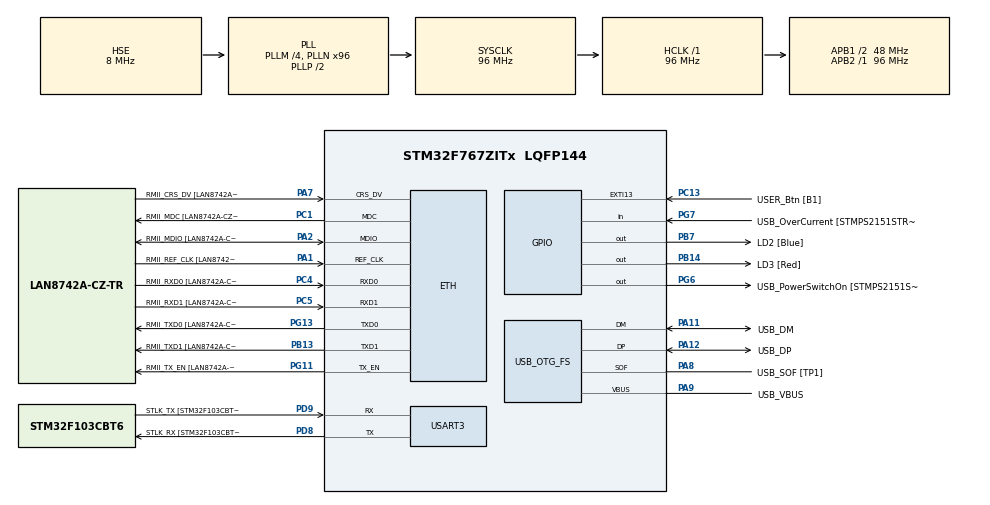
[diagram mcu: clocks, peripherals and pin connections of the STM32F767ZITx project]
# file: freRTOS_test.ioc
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ETH.MediaInterface=ETH_MEDIA_INTERFACE_RMII
ETH.PHY_Name=LAN8742A_PHY_ADDRESS
ETH.PHY_Value=0
ETH.PhyAddress=0
FREERTOS.Tasks01=defaultTask,0,128,StartDefaultTask,Default,NULL,Dynamic,NULL,NULL;myTask02,-3,128,StartTask02,Default,NULL,Dynamic,NULL,NULL;myTask03,-3,128,StartTask03,Default,NULL,Dynamic,NULL,NULL
FREERTOS.Timers01=myTimer01,Callback01,osTimerPeriodic,Default,NULL,Dynamic,NULL;myTimer02,Callback02,osTimerPeriodic,Default,NULL,Dynamic,NULL
FREERTOS.configUSE_RECURSIVE_MUTEXES=1
FREERTOS.configUSE_TIMERS=1
LWIP.Version=v2.0.3_Cube
Mcu.Family=STM32F7
Mcu.Name=STM32F767ZITx
Mcu.Package=LQFP144
NVIC.ETH_IRQn=true\:5\:0\:false\:false\:true\:true\:false
NVIC.PriorityGroup=NVIC_PRIORITYGROUP_4
NVIC.RCC_IRQn=true\:5\:0\:false\:false\:true\:true\:true
NVIC.TIM1_UP_TIM10_IRQn=true\:0\:0\:false\:false\:true\:false\:false
NVIC.TimeBase=TIM1_UP_TIM10_IRQn
NVIC.TimeBaseIP=TIM1
PA1.GPIO_Label=RMII_REF_CLK [LAN8742A-CZ-TR_REFCLK0]
PA1.Mode=RMII
PA1.Signal=ETH_REF_CLK
PA10.GPIO_Label=USB_ID
PA10.Signal=USB_OTG_FS_ID
PA11.GPIO_Label=USB_DM
PA11.Mode=Device_Only
PA11.Signal=USB_OTG_FS_DM
PA12.GPIO_Label=USB_DP
PA12.Mode=Device_Only
PA12.Signal=USB_OTG_FS_DP
PA13.GPIO_Label=TMS
PA13.Mode=Serial_Wire
PA13.Signal=SYS_JTMS-SWDIO
PA14.GPIO_Label=TCK
PA14.Mode=Serial_Wire
PA14.Signal=SYS_JTCK-SWCLK
PA2.GPIO_Label=RMII_MDIO [LAN8742A-CZ-TR_MDIO]
PA2.Mode=RMII
PA2.Signal=ETH_MDIO
PA7.GPIO_Label=RMII_CRS_DV [LAN8742A-CZ-TR_CRS_DV]
PA7.Mode=RMII
PA7.Signal=ETH_CRS_DV
PA8.GPIO_Label=USB_SOF [TP1]
PA8.Mode=Activate_SOF_FS
PA8.Signal=USB_OTG_FS_SOF
PA9.GPIO_Label=USB_VBUS
PA9.Mode=Activate_VBUS
PA9.Signal=USB_OTG_FS_VBUS
PB13.GPIO_Label=RMII_TXD1 [LAN8742A-CZ-TR_TXD1]
PB13.Mode=RMII
PB13.Signal=ETH_TXD1
PB14.GPIO_Label=LD3 [Red]
PB14.Signal=GPIO_Output
PB3.GPIO_Label=SWO
PB3.Signal=SYS_JTDO-SWO
PB7.GPIO_Label=LD2 [Blue]
PB7.Signal=GPIO_Output
PC1.GPIO_Label=RMII_MDC [LAN8742A-CZ-TR_MDC]
PC1.Mode=RMII
PC1.Signal=ETH_MDC
PC13.GPIO_Label=USER_Btn [B1]
PC13.Signal=GPXTI13
PC14/OSC32_IN.Mode=LSE-External-Oscillator
PC14/OSC32_IN.Signal=RCC_OSC32_IN
PC15/OSC32_OUT.Mode=LSE-External-Oscillator
PC15/OSC32_OUT.Signal=RCC_OSC32_OUT
PC4.GPIO_Label=RMII_RXD0 [LAN8742A-CZ-TR_RXD0]
PC4.Mode=RMII
PC4.Signal=ETH_RXD0
PC5.GPIO_Label=RMII_RXD1 [LAN8742A-CZ-TR_RXD1]
PC5.Mode=RMII
PC5.Signal=ETH_RXD1
PD8.GPIO_Label=STLK_RX [STM32F103CBT6_PA3]
PD8.Mode=Asynchronous
PD8.Signal=USART3_TX
PD9.GPIO_Label=STLK_TX [STM32F103CBT6_PA2]
PD9.Mode=Asynchronous
PD9.Signal=USART3_RX
PG11.GPIO_Label=RMII_TX_EN [LAN8742A-CZ-TR_TXEN]
PG11.Mode=RMII
PG11.Signal=ETH_TX_EN
PG13.GPIO_Label=RMII_TXD0 [LAN8742A-CZ-TR_TXD0]
PG13.Mode=RMII
PG13.Signal=ETH_TXD0
PG6.GPIO_Label=USB_PowerSwitchOn [STMPS2151STR_EN]
PG6.Signal=GPIO_Output
PG7.GPIO_Label=USB_OverCurrent [STMPS2151STR_FAULT]
PG7.Signal=GPIO_Input
PH0/OSC_IN.GPIO_Label=MCO [STM32F103CBT6_PA8]
PH0/OSC_IN.Mode=HSE-External-Clock-Source
PH0/OSC_IN.Signal=RCC_OSC_IN
PH1/OSC_OUT.Mode=HSE-External-Clock-Source
PH1/OSC_OUT.Signal=RCC_OSC_OUT
ProjectManager.HeapSize=0x200
ProjectManager.StackSize=0x400
ProjectManager.TargetToolchain=SW4STM32
RCC.48MHZClocksFreq_Value=24000000
RCC.AHBFreq_Value=96000000
RCC.APB1CLKDivider=RCC_HCLK_DIV2
RCC.APB1Freq_Value=48000000
RCC.APB1TimFreq_Value=96000000
RCC.APB2Freq_Value=96000000
RCC.APB2TimFreq_Value=96000000
RCC.CortexFreq_Value=96000000
RCC.HCLKFreq_Value=96000000
RCC.HSE_VALUE=8000000
RCC.HSI_VALUE=16000000
RCC.PLLM=4
RCC.PLLMUL=RCC_PLL_MUL9
RCC.PLLN=96
RCC.PLLQ=4
RCC.PRESCALERUSB=RCC_USBCLKSOURCE_PLL_DIV1_5
RCC.SYSCLKFreq_VALUE=96000000
RCC.SYSCLKSource=RCC_SYSCLKSOURCE_PLLCLK
RCC.SYSCLKSourceVirtual=RCC_SYSCLKSOURCE_PLLCLK
RCC.USBFreq_Value=48000000
RCC.VCOOutputFreq_Value=192000000
USART3.VirtualMode-Asynchronous=VM_ASYNC
USB_OTG_FS.VirtualMode=Device_Only
VP_FREERTOS_VS_ENABLE.Mode=Enabled
VP_LWIP_VS_Enabled.Mode=Enabled
VP_SYS_VS_tim1.Mode=TIM1
board=NUCLEO-F767ZI

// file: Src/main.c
/**
  ******************************************************************************
  * @file           : main.c
  * @brief          : Main program body
  ******************************************************************************
  * This notice applies to any and all portions of this file
  * that are not between comment pairs USER CODE BEGIN and
  * USER CODE END. Other portions of this file, whether
  * inserted by the user or by software development tools
  * are owned by their respective copyright owners.
  *
  * Copyright (c) 2018 STMicroelectronics International N.V.
  * All rights reserved.
  *
  * Redistribution and use in source and binary forms, with or without
  * modification, are permitted, provided that the following conditions are met:
  *
  * 1. Redistribution of source code must retain the above copyright notice,
  *    this list of conditions and the following disclaimer.
  * 2. Redistributions in binary form must reproduce the above copyright notice,
  *    this list of conditions and the following disclaimer in the documentation
  *    and/or other materials provided with the distribution.
  * 3. Neither the name of STMicroelectronics nor the names of other
  *    contributors to this software may be used to endorse or promote products
  *    derived from this software without specific written permission.
  * 4. This software, including modifications and/or derivative works of this
  *    software, must execute solely and exclusively on microcontroller or
  *    microprocessor devices manufactured by or for STMicroelectronics.
  * 5. Redistribution and use of this software other than as permitted under
  *    this license is void and will automatically terminate your rights under
  *    this license.
  *
  * THIS SOFTWARE IS PROVIDED BY STMICROELECTRONICS AND CONTRIBUTORS "AS IS"
  * AND ANY EXPRESS, IMPLIED OR STATUTORY WARRANTIES, INCLUDING, BUT NOT
  * LIMITED TO, THE IMPLIED WARRANTIES OF MERCHANTABILITY, FITNESS FOR A
  * PARTICULAR PURPOSE AND NON-INFRINGEMENT OF THIRD PARTY INTELLECTUAL PROPERTY
  * RIGHTS ARE DISCLAIMED TO THE FULLEST EXTENT PERMITTED BY LAW. IN NO EVENT
  * SHALL STMICROELECTRONICS OR CONTRIBUTORS BE LIABLE FOR ANY DIRECT, INDIRECT,
  * INCIDENTAL, SPECIAL, EXEMPLARY, OR CONSEQUENTIAL DAMAGES (INCLUDING, BUT NOT
  * LIMITED TO, PROCUREMENT OF SUBSTITUTE GOODS OR SERVICES; LOSS OF USE, DATA,
  * OR PROFITS; OR BUSINESS INTERRUPTION) HOWEVER CAUSED AND ON ANY THEORY OF
  * LIABILITY, WHETHER IN CONTRACT, STRICT LIABILITY, OR TORT (INCLUDING
  * NEGLIGENCE OR OTHERWISE) ARISING IN ANY WAY OUT OF THE USE OF THIS SOFTWARE,
  * EVEN IF ADVISED OF THE POSSIBILITY OF SUCH DAMAGE.
  *
  ******************************************************************************
  */
#include "main.h"
#include "stm32f7xx_hal.h"
#include "cmsis_os.h"
#include "lwip.h"
#include "usart.h"
#include "usb_otg.h"
#include "gpio.h"

/* USER CODE BEGIN Includes */
#include "stdio.h"
/* USER CODE END Includes */

/* USER CODE BEGIN PV */
/* Private variables ---------------------------------------------------------*/

/* USER CODE END PV */

void SystemClock_Config(void);
void MX_FREERTOS_Init(void);

/* USER CODE BEGIN PFP */
/* Private function prototypes -----------------------------------------------*/
#ifdef __GNUC__
  /* With GCC/RAISONANCE, small printf (option LD Linker->Libraries->Small printf
     set to 'Yes') calls __io_putchar() */
  #define PUTCHAR_PROTOTYPE int __io_putchar(int ch)
#else
  #define PUTCHAR_PROTOTYPE int fputc(int ch, FILE *f)
#endif /* __GNUC__ */

/* USER CODE END PFP */

int main(void)
{

  /* MCU Configuration----------------------------------------------------------*/

  /* Reset of all peripherals, Initializes the Flash interface and the Systick. */
  HAL_Init();

  /* Configure the system clock */
  SystemClock_Config();

  /* Initialize all configured peripherals */
  MX_GPIO_Init();
  MX_USART3_UART_Init();
  MX_USB_OTG_FS_PCD_Init();
  /* USER CODE BEGIN 2 */
  printf("Starting UDP/TCP echo server\n\r");
  /* USER CODE END 2 */

  /* Call init function for freertos objects (in freertos.c) */
  MX_FREERTOS_Init();

  /* Start scheduler */
  osKernelStart();

  /* We should never get here as control is now taken by the scheduler */

  /* Infinite loop */
  while (1)
  {

  }

}

void SystemClock_Config(void)
{

  RCC_OscInitTypeDef RCC_OscInitStruct;
  RCC_ClkInitTypeDef RCC_ClkInitStruct;
  RCC_PeriphCLKInitTypeDef PeriphClkInitStruct;

    /**Configure the main internal regulator output voltage
    */
  __HAL_RCC_PWR_CLK_ENABLE();

  __HAL_PWR_VOLTAGESCALING_CONFIG(PWR_REGULATOR_VOLTAGE_SCALE3);

    /**Initializes the CPU, AHB and APB busses clocks
    */
  RCC_OscInitStruct.OscillatorType = RCC_OSCILLATORTYPE_HSE;
  RCC_OscInitStruct.HSEState = RCC_HSE_BYPASS;
  RCC_OscInitStruct.PLL.PLLState = RCC_PLL_ON;
  RCC_OscInitStruct.PLL.PLLSource = RCC_PLLSOURCE_HSE;
  RCC_OscInitStruct.PLL.PLLM = 4;
  RCC_OscInitStruct.PLL.PLLN = 96;
  RCC_OscInitStruct.PLL.PLLP = RCC_PLLP_DIV2;
  RCC_OscInitStruct.PLL.PLLQ = 4;
  if (HAL_RCC_OscConfig(&RCC_OscInitStruct) != HAL_OK)
  {
    _Error_Handler(__FILE__, __LINE__);
  }

    /**Activate the Over-Drive mode
    */
  if (HAL_PWREx_EnableOverDrive() != HAL_OK)
  {
    _Error_Handler(__FILE__, __LINE__);
  }

    /**Initializes the CPU, AHB and APB busses clocks
    */
  RCC_ClkInitStruct.ClockType = RCC_CLOCKTYPE_HCLK|RCC_CLOCKTYPE_SYSCLK
                              |RCC_CLOCKTYPE_PCLK1|RCC_CLOCKTYPE_PCLK2;
  RCC_ClkInitStruct.SYSCLKSource = RCC_SYSCLKSOURCE_PLLCLK;
  RCC_ClkInitStruct.AHBCLKDivider = RCC_SYSCLK_DIV1;
  RCC_ClkInitStruct.APB1CLKDivider = RCC_HCLK_DIV2;
  RCC_ClkInitStruct.APB2CLKDivider = RCC_HCLK_DIV1;

  if (HAL_RCC_ClockConfig(&RCC_ClkInitStruct, FLASH_LATENCY_3) != HAL_OK)
  {
    _Error_Handler(__FILE__, __LINE__);
  }

  PeriphClkInitStruct.PeriphClockSelection = RCC_PERIPHCLK_USART3|RCC_PERIPHCLK_CLK48;
  PeriphClkInitStruct.Usart3ClockSelection = RCC_USART3CLKSOURCE_PCLK1;
  PeriphClkInitStruct.Clk48ClockSelection = RCC_CLK48SOURCE_PLL;
  if (HAL_RCCEx_PeriphCLKConfig(&PeriphClkInitStruct) != HAL_OK)
  {
    _Error_Handler(__FILE__, __LINE__);
  }

    /**Configure the Systick interrupt time
    */
  HAL_SYSTICK_Config(HAL_RCC_GetHCLKFreq()/1000);

    /**Configure the Systick
    */
  HAL_SYSTICK_CLKSourceConfig(SYSTICK_CLKSOURCE_HCLK);

  /* SysTick_IRQn interrupt configuration */
  HAL_NVIC_SetPriority(SysTick_IRQn, 15, 0);
}

/* USER CODE BEGIN 4 */

/**
  * @brief  Retargets the C library printf function to the USART.
  * @param  None
  * @retval None
  */
PUTCHAR_PROTOTYPE
{
  /* Place your implementation of fputc here */
  /* e.g. write a character to the EVAL_COM1 and Loop until the end of transmission */
  HAL_UART_Transmit(&huart3, (uint8_t *)&ch, 1, 0xFFFF);

  return ch;
}

/* USER CODE END 4 */

void HAL_TIM_PeriodElapsedCallback(TIM_HandleTypeDef *htim)
{
  if (htim->Instance == TIM1) {
    HAL_IncTick();
  }
}

void _Error_Handler(char *file, int line)
{
  while(1)
  {
  }
}

/************************ (C) COPYRIGHT STMicroelectronics *****END OF FILE****/

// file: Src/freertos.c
/* USER CODE BEGIN Header */
/**
  ******************************************************************************
  * File Name          : freertos.c
  * Description        : Code for freertos applications
  ******************************************************************************
  * This notice applies to any and all portions of this file
  * that are not between comment pairs USER CODE BEGIN and
  * USER CODE END. Other portions of this file, whether
  * inserted by the user or by software development tools
  * are owned by their respective copyright owners.
  *
  * Copyright (c) 2018 STMicroelectronics International N.V.
  * All rights reserved.
  *
  * Redistribution and use in source and binary forms, with or without
  * modification, are permitted, provided that the following conditions are met:
  *
  * 1. Redistribution of source code must retain the above copyright notice,
  *    this list of conditions and the following disclaimer.
  * 2. Redistributions in binary form must reproduce the above copyright notice,
  *    this list of conditions and the following disclaimer in the documentation
  *    and/or other materials provided with the distribution.
  * 3. Neither the name of STMicroelectronics nor the names of other
  *    contributors to this software may be used to endorse or promote products
  *    derived from this software without specific written permission.
  * 4. This software, including modifications and/or derivative works of this
  *    software, must execute solely and exclusively on microcontroller or
  *    microprocessor devices manufactured by or for STMicroelectronics.
  * 5. Redistribution and use of this software other than as permitted under
  *    this license is void and will automatically terminate your rights under
  *    this license.
  *
  * THIS SOFTWARE IS PROVIDED BY STMICROELECTRONICS AND CONTRIBUTORS "AS IS"
  * AND ANY EXPRESS, IMPLIED OR STATUTORY WARRANTIES, INCLUDING, BUT NOT
  * LIMITED TO, THE IMPLIED WARRANTIES OF MERCHANTABILITY, FITNESS FOR A
  * PARTICULAR PURPOSE AND NON-INFRINGEMENT OF THIRD PARTY INTELLECTUAL PROPERTY
  * RIGHTS ARE DISCLAIMED TO THE FULLEST EXTENT PERMITTED BY LAW. IN NO EVENT
  * SHALL STMICROELECTRONICS OR CONTRIBUTORS BE LIABLE FOR ANY DIRECT, INDIRECT,
  * INCIDENTAL, SPECIAL, EXEMPLARY, OR CONSEQUENTIAL DAMAGES (INCLUDING, BUT NOT
  * LIMITED TO, PROCUREMENT OF SUBSTITUTE GOODS OR SERVICES; LOSS OF USE, DATA,
  * OR PROFITS; OR BUSINESS INTERRUPTION) HOWEVER CAUSED AND ON ANY THEORY OF
  * LIABILITY, WHETHER IN CONTRACT, STRICT LIABILITY, OR TORT (INCLUDING
  * NEGLIGENCE OR OTHERWISE) ARISING IN ANY WAY OUT OF THE USE OF THIS SOFTWARE,
  * EVEN IF ADVISED OF THE POSSIBILITY OF SUCH DAMAGE.
  *
  ******************************************************************************
  */
/* USER CODE END Header */

#include "FreeRTOS.h"
#include "task.h"
#include "main.h"
#include "cmsis_os.h"

/* USER CODE BEGIN Includes */
#include "leds.h"
#include "stdio.h"
#include "lwip/api.h"

//extern void tcpecho_init(void);
extern void udpecho_init(void);

/* USER CODE END Includes */

osThreadId defaultTaskHandle;
osThreadId myTask02Handle;
osThreadId myTask03Handle;
osTimerId myTimer01Handle;
osTimerId myTimer02Handle;

void StartDefaultTask(void const * argument);
void StartTask02(void const * argument);
void StartTask03(void const * argument);
void Callback01(void const * argument);
void Callback02(void const * argument);

extern void MX_LWIP_Init(void);
void MX_FREERTOS_Init(void); /* (MISRA C 2004 rule 8.1) */

void MX_FREERTOS_Init(void) {

  /* Create the timer(s) */
  /* definition and creation of myTimer01 */
  osTimerDef(myTimer01, Callback01);
  myTimer01Handle = osTimerCreate(osTimer(myTimer01), osTimerOnce, NULL);

  /* definition and creation of myTimer02 */
  osTimerDef(myTimer02, Callback02);
  myTimer02Handle = osTimerCreate(osTimer(myTimer02), osTimerPeriodic, NULL);

  /* Create the thread(s) */
  /* definition and creation of defaultTask */
  osThreadDef(defaultTask, StartDefaultTask, osPriorityNormal, 0, 128);
  defaultTaskHandle = osThreadCreate(osThread(defaultTask), NULL);

  /* definition and creation of myTask02 */
  osThreadDef(myTask02, StartTask02, osPriorityIdle, 0, 128);
  myTask02Handle = osThreadCreate(osThread(myTask02), NULL);

  /* definition and creation of myTask03 */
  osThreadDef(myTask03, StartTask03, osPriorityIdle, 0, 128);
  myTask03Handle = osThreadCreate(osThread(myTask03), NULL);

}

void StartDefaultTask(void const * argument)
{
  /* init code for LWIP */
  MX_LWIP_Init();

  /* USER CODE BEGIN StartDefaultTask */
  printf("starting defaultTask\n");
//  tcpecho_init();
  udpecho_init();

  /* Infinite loop */
  for(;;)
  {

    osDelay(100);
  }
  /* USER CODE END StartDefaultTask */
}

void StartTask02(void const * argument)
{
  /* USER CODE BEGIN StartTask02 */
	  printf("starting Task02\n");
  /* Infinite loop */
  for(;;)
  {
	  blink_red();
    osDelay(250);
  }
  /* USER CODE END StartTask02 */
}

void StartTask03(void const * argument)
{
  /* USER CODE BEGIN StartTask03 */

  printf("starting Task03\n");
  /* Infinite loop */
  for(;;)
  {

	blink_blue();
    osDelay(500);
  }
  /* USER CODE END StartTask03 */
}

/* Callback01 function */
void Callback01(void const * argument)
{
  /* USER CODE BEGIN Callback01 */
printf("thread from LWIP init");
  /* USER CODE END Callback01 */
}

/* Callback02 function */
void Callback02(void const * argument)
{
}

/************************ (C) COPYRIGHT STMicroelectronics *****END OF FILE****/
